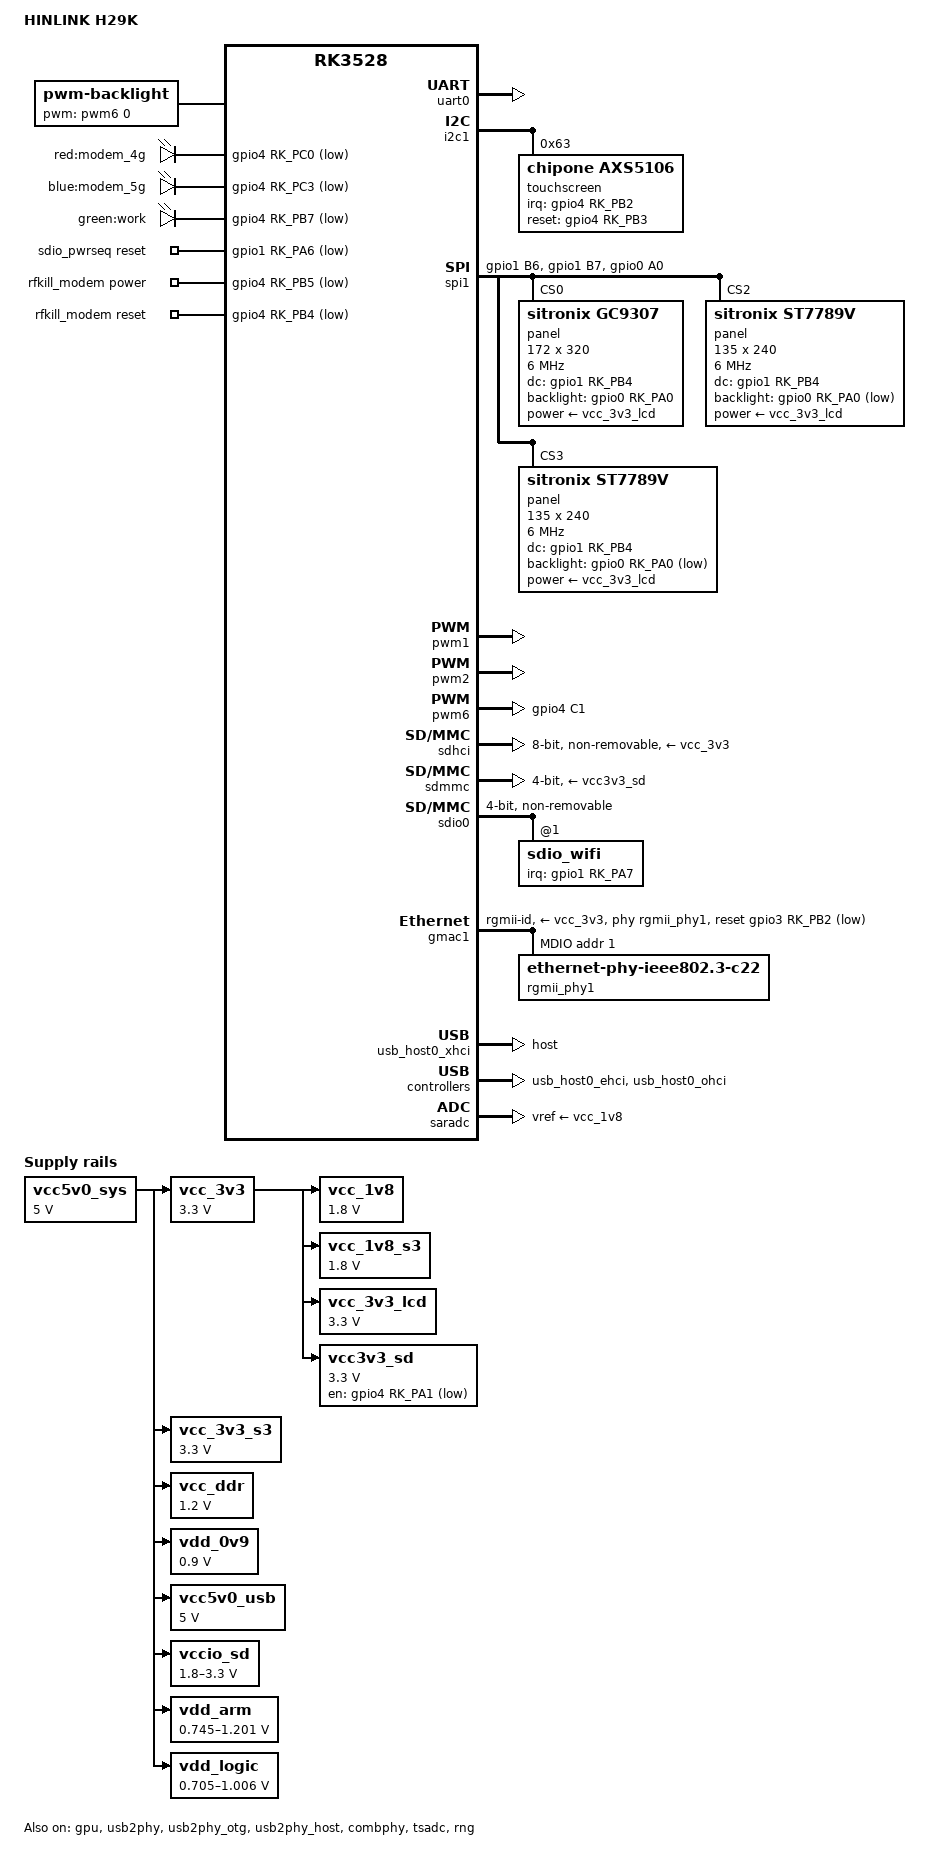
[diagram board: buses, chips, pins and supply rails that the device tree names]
// SPDX-License-Identifier: (GPL-2.0+ OR MIT)

/dts-v1/;

#include <dt-bindings/gpio/gpio.h>
#include <dt-bindings/input/input.h>
#include <dt-bindings/thermal/thermal.h>
#include <dt-bindings/pinctrl/rockchip.h>
#include "rk3528.dtsi"
#include "rk3528-pinctrl.dtsi"

/ {
	model = "HINLINK H29K";
	compatible = "hinlink,h29k", "rockchip,rk3528";

	aliases {
		ethernet0 = &gmac1;
		i2c0 = &i2c0;
		i2c1 = &i2c1;
		i2c2 = &i2c2;
		i2c3 = &i2c3;
		i2c4 = &i2c4;
		i2c5 = &i2c5;
		i2c6 = &i2c6;
		i2c7 = &i2c7;
		led-boot = &work_led;
		led-failsafe = &work_led;
		led-running = &work_led;
		led-upgrade = &work_led;
		mmc0 = &sdhci;
		mmc1 = &sdmmc;
		mmc2 = &sdio0;
		serial0 = &uart0;
		serial1 = &uart1;
		serial2 = &uart2;
		serial3 = &uart3;
		serial4 = &uart4;
		serial5 = &uart5;
		serial6 = &uart6;
		serial7 = &uart7;
		spi0 = &spi0;
		spi1 = &spi1;
	};

	chosen {
		stdout-path = "serial0:1500000n8";
	};

	backlight: backlight {
		compatible = "pwm-backlight";
		brightness-levels = <
			  0   1   2   3   4   5   6   7   8   9  10  11  12  13  14  15
			 16  17  18  19  20  21  22  23  24  25  26  27  28  29  30  31
			 32  33  34  35  36  37  38  39  40  41  42  43  44  45  46  47
			 48  49  50  51  52  53  54  55  56  57  58  59  60  61  62  63
			 64  65  66  67  68  69  70  71  72  73  74  75  76  77  78  79
			 80  81  82  83  84  85  86  87  88  89  90  91  92  93  94  95
			 96  97  98  99 100 101 102 103 104 105 106 107 108 109 110 111
			112 113 114 115 116 117 118 119 120 121 122 123 124 125 126 127
			128 129 130 131 132 133 134 135 136 137 138 139 140 141 142 143
			144 145 146 147 148 149 150 151 152 153 154 155 156 157 158 159
			160 161 162 163 164 165 166 167 168 169 170 171 172 173 174 175
			176 177 178 179 180 181 182 183 184 185 186 187 188 189 190 191
			192 193 194 195 196 197 198 199 200 201 202 203 204 205 206 207
			208 209 210 211 212 213 214 215 216 217 218 219 220 221 222 223
			224 225 226 227 228 229 230 231 232 233 234 235 236 237 238 239
			240 241 242 243 244 245 246 247 248 249 250 251 252 253 254 255
		>;
		default-brightness-level = <200>;
		pwms = <&pwm6 0 25000 1>;
	};

	vcc5v0_sys: vcc5v0-sys {
		compatible = "regulator-fixed";
		regulator-name = "vcc5v0_sys";
		regulator-min-microvolt = <5000000>;
		regulator-max-microvolt = <5000000>;
		regulator-always-on;
		regulator-boot-on;
	};

	vcc_3v3: vcc-3v3 {
		compatible = "regulator-fixed";
		regulator-name = "vcc_3v3";
		regulator-min-microvolt = <3300000>;
		regulator-max-microvolt = <3300000>;
		regulator-always-on;
		regulator-boot-on;
		vin-supply = <&vcc5v0_sys>;
	};

	vcc_1v8: vcc-1v8 {
		compatible = "regulator-fixed";
		regulator-name = "vcc_1v8";
		regulator-min-microvolt = <1800000>;
		regulator-max-microvolt = <1800000>;
		regulator-always-on;
		regulator-boot-on;
		vin-supply = <&vcc_3v3>;
	};

	vcc_1v8_s3: vcc-1v8-s3 {
		compatible = "regulator-fixed";
		regulator-name = "vcc_1v8_s3";
		regulator-min-microvolt = <1800000>;
		regulator-max-microvolt = <1800000>;
		regulator-always-on;
		regulator-boot-on;
		vin-supply = <&vcc_3v3>;
	};

	vcc_3v3_s3: vcc-3v3-s3 {
		compatible = "regulator-fixed";
		regulator-name = "vcc_3v3_s3";
		regulator-min-microvolt = <3300000>;
		regulator-max-microvolt = <3300000>;
		regulator-always-on;
		regulator-boot-on;
		vin-supply = <&vcc5v0_sys>;
	};

	vcc_ddr: vcc-ddr {
		compatible = "regulator-fixed";
		regulator-name = "vcc_ddr";
		regulator-min-microvolt = <1200000>;
		regulator-max-microvolt = <1200000>;
		regulator-always-on;
		regulator-boot-on;
		vin-supply = <&vcc5v0_sys>;
	};

	vdd_0v9: vdd-0v9 {
		compatible = "regulator-fixed";
		regulator-name = "vdd_0v9";
		regulator-min-microvolt = <900000>;
		regulator-max-microvolt = <900000>;
		regulator-always-on;
		regulator-boot-on;
		vin-supply = <&vcc5v0_sys>;
	};

	vcc5v0_usb: vcc5v0-usb {
		compatible = "regulator-fixed";
		regulator-name = "vcc5v0_usb";
		regulator-min-microvolt = <5000000>;
		regulator-max-microvolt = <5000000>;
		regulator-always-on;
		regulator-boot-on;
		vin-supply = <&vcc5v0_sys>;
	};

	vcc_3v3_lcd: vcc-3v3-lcd {
		compatible = "regulator-fixed";
		regulator-name = "vcc_3v3_lcd";
		regulator-min-microvolt = <3300000>;
		regulator-max-microvolt = <3300000>;
		vin-supply = <&vcc_3v3>;
	};

	vcc3v3_sd: vcc3v3-sd {
		compatible = "regulator-fixed";
		regulator-name = "vcc3v3_sd";
		regulator-min-microvolt = <3300000>;
		regulator-max-microvolt = <3300000>;
		regulator-always-on;
		regulator-boot-on;
		gpio = <&gpio4 RK_PA1 GPIO_ACTIVE_LOW>;
		vin-supply = <&vcc_3v3>;
	};

	vccio_sd: vccio-sd {
		compatible = "regulator-gpio";
		regulator-name = "vccio_sd";
		regulator-min-microvolt = <1800000>;
		regulator-max-microvolt = <3300000>;
		gpios = <&gpio4 RK_PB6 GPIO_ACTIVE_HIGH>;
		states = <1800000 0x0>, <3300000 0x1>;
		vin-supply = <&vcc5v0_sys>;
	};

	vdd_arm: vdd-arm {
		compatible = "pwm-regulator";
		regulator-name = "vdd_arm";
		regulator-min-microvolt = <745000>;
		regulator-max-microvolt = <1201000>;
		regulator-always-on;
		regulator-boot-on;
		regulator-settling-time-up-us = <250>;
		pwms = <&pwm1 0 5000 1>;
		pwm-supply = <&vcc5v0_sys>;
	};

	vdd_logic: vdd-logic {
		compatible = "pwm-regulator";
		regulator-name = "vdd_logic";
		regulator-min-microvolt = <705000>;
		regulator-max-microvolt = <1006000>;
		regulator-always-on;
		regulator-boot-on;
		regulator-settling-time-up-us = <250>;
		pwms = <&pwm2 0 5000 1>;
		pwm-supply = <&vcc5v0_sys>;
	};

	leds: leds {
		compatible = "gpio-leds";
		pinctrl-names = "default";
		pinctrl-0 = <&modem_4g_led &modem_5g_led &led_work_en>;

		modem_4g {
			label = "red:modem_4g";
			gpios = <&gpio4 RK_PC0 GPIO_ACTIVE_LOW>;
		};

		modem_5g {
			label = "blue:modem_5g";
			gpios = <&gpio4 RK_PC3 GPIO_ACTIVE_LOW>;
		};

		work_led: work {
			label = "green:work";
			gpios = <&gpio4 RK_PB7 GPIO_ACTIVE_LOW>;
		};
	};

	sdio_pwrseq: sdio-pwrseq {
		compatible = "mmc-pwrseq-simple";
		reset-gpios = <&gpio1 RK_PA6 GPIO_ACTIVE_LOW>;
		pinctrl-names = "default";
		pinctrl-0 = <&wifi_enable_h>;
	};

	rng: rng@ffc50000 {
		compatible = "rockchip,rkrng";
		reg = <0x0 0xffc50000 0x0 0x200>;
		interrupts = <GIC_SPI 23 IRQ_TYPE_LEVEL_HIGH>;
		clocks = <&cru 32>;
		clock-names = "hclk_trng";
		resets = <&cru 163>;
		reset-names = "reset";
		status = "okay";
	};

	rfkill_modem: rfkill-modem {
		compatible = "rfkill-gpio";
		type = "wwan";
		power-gpios = <&gpio4 RK_PB5 GPIO_ACTIVE_LOW>;
		reset-gpios = <&gpio4 RK_PB4 GPIO_ACTIVE_LOW>;
	};
};

&cpu0 {
	cpu-supply = <&vdd_arm>;
	dynamic-power-coefficient = <147>;
};

&cpu1 {
	cpu-supply = <&vdd_arm>;
	dynamic-power-coefficient = <147>;
};

&cpu2 {
	cpu-supply = <&vdd_arm>;
	dynamic-power-coefficient = <147>;
};

&cpu3 {
	cpu-supply = <&vdd_arm>;
	dynamic-power-coefficient = <147>;
};

&gpu {
	mali-supply = <&vdd_logic>;
	status = "okay";
};

&uart0 {
	status = "okay";
	pinctrl-names = "default";
	pinctrl-0 = <&uart0m0_xfer>;
};

&i2c0 {
	status = "disabled";
};

&i2c1 {
	status = "okay";
	pinctrl-names = "default";
	pinctrl-0 = <&i2c1m0_xfer>;
	pinctrl-1 = <&tp_int_pin>;
	pinctrl-2 = <&tp_reset_pin>;

	touchscreen@63 {
		compatible = "chipone,axs5106";
		reg = <0x63>;
		interrupt-parent = <&gpio4>;
		interrupts = <RK_PB2 IRQ_TYPE_EDGE_FALLING>;
		interrupt-names = "touchscreen";
		irq-gpios = <&gpio4 RK_PB2 GPIO_ACTIVE_HIGH>;
		reset-gpios = <&gpio4 RK_PB3 GPIO_ACTIVE_HIGH>;
		touchscreen-inverted-x;
		touchscreen-inverted-y;
		touchscreen-size-x = <172>;
		touchscreen-size-y = <320>;
		status = "okay";
	};
};

&i2c2 { status = "disabled"; }
&i2c3 { status = "disabled"; }

&spi0 {
	status = "disabled";
};

&spi1 {
	status = "okay";
	num-cs = <1>;
	assigned-clocks = <&cru CLK_SPI1>;
	assigned-clock-rates = <200000000>;
	pinctrl-names = "default";
	pinctrl-0 = <&spi4_custom_pins>, <&lcd_backlight_pin>;

	panel@0 {
		compatible = "sitronix,gc9307";
		reg = <0>;
		spi-max-frequency = <6000000>;
		spi-cpha;
		spi-cpol;
		buswidth = <8>;
		rotate = <270>;
		width = <172>;
		height = <320>;
		dc-gpios = <&gpio1 RK_PB4 GPIO_ACTIVE_HIGH>;
		backlight-gpios = <&gpio0 RK_PA0 GPIO_ACTIVE_HIGH>;
		power-supply = <&vcc_3v3_lcd>;
		pinctrl-names = "default";
		pinctrl-0 = <&lcd_dc_pin>;
		debug = <0>;
	};

	panel@2 {
		compatible = "sitronix,st7789v";
		reg = <2>;
		spi-max-frequency = <6000000>;
		spi-cpha;
		spi-cpol;
		buswidth = <8>;
		rotate = <270>;
		width = <135>;
		height = <240>;
		dc-gpios = <&gpio1 RK_PB4 GPIO_ACTIVE_HIGH>;
		backlight-gpios = <&gpio0 RK_PA0 GPIO_ACTIVE_LOW>;
		power-supply = <&vcc_3v3_lcd>;
		pinctrl-names = "default";
		pinctrl-0 = <&lcd_dc_pin>;
		debug = <0>;
	};

	panel@3 {
		compatible = "sitronix,st7789v";
		reg = <3>;
		spi-max-frequency = <6000000>;
		spi-cpha;
		spi-cpol;
		buswidth = <8>;
		rotate = <90>;
		width = <135>;
		height = <240>;
		dc-gpios = <&gpio1 RK_PB4 GPIO_ACTIVE_HIGH>;
		backlight-gpios = <&gpio0 RK_PA0 GPIO_ACTIVE_LOW>;
		power-supply = <&vcc_3v3_lcd>;
		pinctrl-names = "default";
		pinctrl-0 = <&lcd_dc_pin>;
		debug = <0>;
	};
};

&pwm0 { status = "disabled"; }

&pwm1 {
	status = "okay";
	pinctrl-names = "active";
	pinctrl-0 = <&pwm1m0_pins>;
};

&pwm2 {
	status = "okay";
	pinctrl-names = "active";
	pinctrl-0 = <&pwm2m0_pins>;
};

&pwm3 { status = "disabled"; }
&pwm4 { status = "disabled"; }
&pwm5 { status = "disabled"; }

&pwm6 {
	status = "okay";
	pinctrl-names = "default";
	pinctrl-0 = <&panel_pwm_pin>;
	assigned-clock-rates = <100000000>;
};

&pwm7 { status = "disabled"; }

&sdhci {
	status = "okay";
	bus-width = <8>;
	non-removable;
	mmc-hs200-1_8v;
	vmmc-supply = <&vcc_3v3>;
	vqmmc-supply = <&vcc_1v8>;
};

&sdmmc {
	status = "okay";
	bus-width = <4>;
	cap-sd-highspeed;
	disable-wp;
	sd-uhs-sdr12;
	sd-uhs-sdr25;
	sd-uhs-sdr50;
	sd-uhs-sdr104;
	rockchip,use-v2-tuning;
	vmmc-supply = <&vcc3v3_sd>;
	vqmmc-supply = <&vccio_sd>;
};

&sdio0 {
	status = "okay";
	bus-width = <4>;
	non-removable;
	cap-sd-highspeed;
	cap-sdio-irq;
	keep-power-in-suspend;
	mmc-pwrseq = <&sdio_pwrseq>;
	sd-uhs-sdr104;
	max-frequency = <200000000>;
	post-power-on-delay-ms = <50>;
	#address-cells = <1>;
	#size-cells = <0>;

	sdio_wifi@1 {
		reg = <1>;
		interrupt-parent = <&gpio1>;
		interrupts = <RK_PA7 IRQ_TYPE_LEVEL_HIGH>;
		interrupt-names = "host-wake";
		pinctrl-names = "default";
		pinctrl-0 = <&wifi_host_wake>;
	};
};

&gmac0 {
	status = "disabled";
};

&gmac1 {
	status = "okay";
	phy-mode = "rgmii-id";
	clock_in_out = "output";
	pinctrl-names = "default";
	pinctrl-0 = <&rgmii_miim>, <&rgmii_tx_bus2>, <&rgmii_rx_bus2>,
		     <&rgmii_rgmii_clk>, <&rgmii_rgmii_bus>;
	phy-handle = <&rgmii_phy1>;
	phy-supply = <&vcc_3v3>;

	snps,reset-active-low;
	snps,reset-delays-us = <0 20000 100000>;
	snps,reset-gpio = <&gpio3 RK_PB2 GPIO_ACTIVE_LOW>;

	mdio1: mdio {
		#address-cells = <1>;
		#size-cells = <0>;

		rgmii_phy1: ethernet-phy@1 {
			compatible = "ethernet-phy-ieee802.3-c22";
			reg = <1>;
		};
	};
};

&usb2phy {
	status = "okay";
};

&usb2phy_otg {
	status = "okay";
	phy-supply = <&vcc5v0_sys>;
	vbus-supply = <&vcc_3v3>;
};

&usb2phy_host {
	status = "okay";
	phy-supply = <&vcc5v0_sys>;
	speed = "high";
};

&usb_host0_xhci {
	status = "okay";
	dr_mode = "host";
};

&usb_host0_ehci {
	status = "okay";
};

&usb_host0_ohci {
	status = "okay";
};

&combphy {
	status = "okay";
};

&saradc {
	status = "okay";
	vref-supply = <&vcc_1v8>;
};

&tsadc {
	status = "okay";
};

&soc_thermal {
	polling-delay-passive = <20>;
	polling-delay = <1000>;
	sustainable-power = <638>;
	thermal-sensors = <&tsadc 0>;

	trips {
		threshold: trip-point-0 {
			temperature = <95000>;
			hysteresis = <2000>;
			type = "passive";
		};

		target: trip-point-1 {
			temperature = <110000>;
			hysteresis = <2000>;
			type = "passive";
		};

		soc_crit: soc-crit {
			temperature = <120000>;
			hysteresis = <2000>;
			type = "critical";
		};
	};

	cooling-maps {
		map0 {
			trip = <&target>;
			cooling-device =
				<&cpu0 THERMAL_NO_LIMIT THERMAL_NO_LIMIT>,
				<&cpu1 THERMAL_NO_LIMIT THERMAL_NO_LIMIT>,
				<&cpu2 THERMAL_NO_LIMIT THERMAL_NO_LIMIT>,
				<&cpu3 THERMAL_NO_LIMIT THERMAL_NO_LIMIT>;
			contribution = <1024>;
		};

		map1 {
			trip = <&target>;
			cooling-device =
				<&gpu THERMAL_NO_LIMIT THERMAL_NO_LIMIT>;
			contribution = <1024>;
		};
	};
};

&pinctrl {
	lcd {
		lcd_backlight_pin: lcd-backlight-pin {
			rockchip,pins = <0 RK_PA0 RK_FUNC_GPIO &pcfg_pull_up>;
		};

		spi4_custom_pins: spi4-custom-pins {
			rockchip,pins =
				<1 RK_PB6 2 &pcfg_pull_none_drv_level_2>,
				<1 RK_PB7 2 &pcfg_pull_none_drv_level_2>;
		};

		lcd_dc_pin: lcd-dc-pin {
			rockchip,pins = <1 RK_PB4 RK_FUNC_GPIO &pcfg_pull_up_drv_level_6>;
		};
	};

	bluetooth {
		bt_enable_h: bt-enable-h {
			rockchip,pins = <1 RK_PB1 RK_FUNC_GPIO &pcfg_pull_down>;
		};

		uart2m1_gpios: uart2m1-gpios {
			rockchip,pins = <1 RK_PB2 RK_FUNC_GPIO &pcfg_pull_none>;
		};
	};

	touchscreen {
		tp_int_pin: tp-int-pin {
			rockchip,pins = <4 RK_PB2 RK_FUNC_GPIO &pcfg_pull_up>;
		};

		tp_reset_pin: tp-reset-pin {
			rockchip,pins = <4 RK_PB3 RK_FUNC_GPIO &pcfg_pull_up>;
		};
	};

	leds {
		led_work_en: led-work-en {
			rockchip,pins = <4 RK_PB7 RK_FUNC_GPIO &pcfg_pull_none>;
		};

		modem_4g_led: modem_4g_led {
			rockchip,pins = <4 RK_PC0 RK_FUNC_GPIO &pcfg_pull_none>;
		};

		modem_5g_led: modem_5g_led {
			rockchip,pins = <4 RK_PC3 RK_FUNC_GPIO &pcfg_pull_none>;
		};
	};

	pwmpanel {
		panel_pwm_pin: panel-pwm-pin {
			rockchip,pins = <4 RK_PC1 1 &pcfg_pull_none>;
		};
	};

	wifi {
		wifi_enable_h: wifi-enable-h {
			rockchip,pins = <1 RK_PA6 RK_FUNC_GPIO &pcfg_pull_none>;
		};

		wifi_host_wake: wifi-host-wake {
			rockchip,pins = <1 RK_PA7 RK_FUNC_GPIO &pcfg_pull_down>;
		};
	};
};
